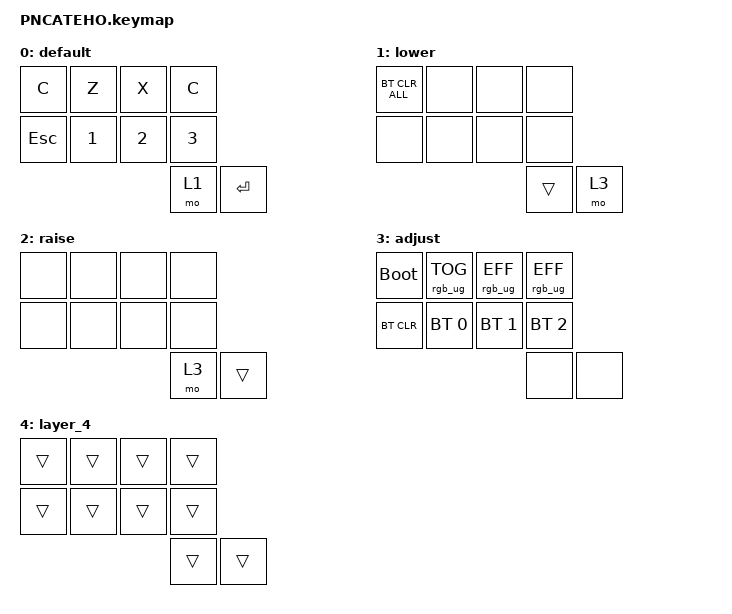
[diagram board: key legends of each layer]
/*
 * Copyright (c) 2020 The ZMK Contributors
 *
 * SPDX-License-Identifier: MIT
 */

#include <behaviors.dtsi>
#include <dt-bindings/zmk/bt.h>
#include <dt-bindings/zmk/keys.h>
#include <dt-bindings/zmk/rgb.h>

&lt { quick_tap_ms = <200>; };

&mt { quick_tap_ms = <200>; };

/ {
    keymap {
        compatible = "zmk,keymap";

        default_layer {
            label = "default";
            bindings = <
&kp C    &kp Z   &kp X         &kp C
&kp ESC  &kp N1  &kp NUMBER_2  &kp N3
                               &mo 1   &kp ENTER
            >;
        };

        lower_layer {
            label = "lower";
            bindings = <
&bt BT_CLR_ALL  &none  &none  &none
&none           &none  &none  &none
                              &trans  &mo 3
            >;
        };

        raise_layer {
            label = "raise";
            bindings = <
&none  &none  &none  &none
&none  &none  &none  &none
                     &mo 3  &trans
            >;
        };

        adjust_layer {
            label = "adjust";
            bindings = <
&bootloader  &rgb_ug RGB_TOG  &rgb_ug RGB_EFF  &rgb_ug RGB_EFF
&bt BT_CLR   &bt BT_SEL 0     &bt BT_SEL 1     &bt BT_SEL 2
                                               &none            &none
            >;
        };

        layer_4 {
            bindings = <
&trans  &trans  &trans  &trans
&trans  &trans  &trans  &trans
                        &trans  &trans
            >;
        };
    };
};
